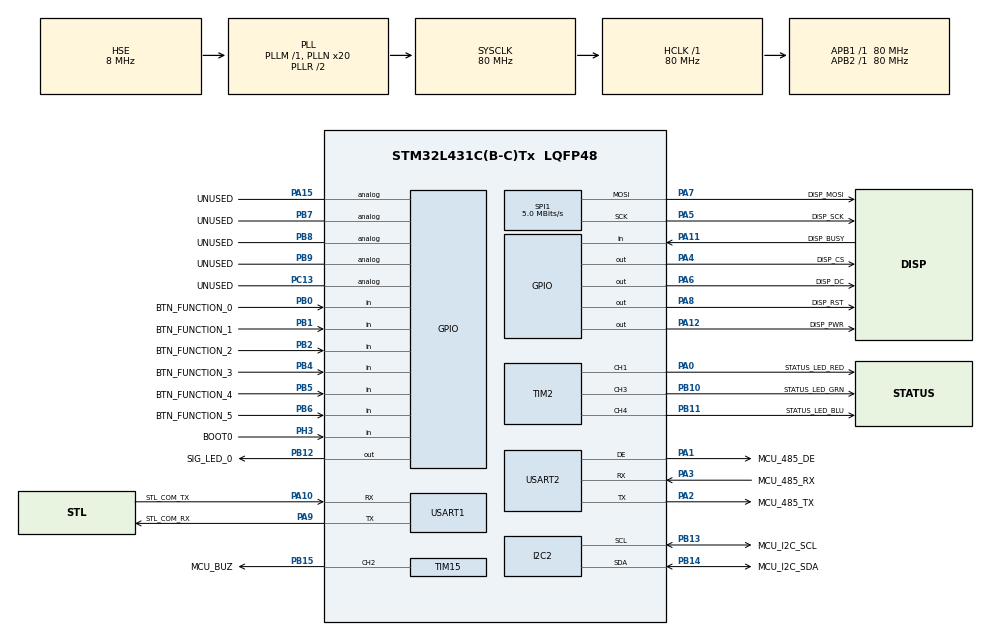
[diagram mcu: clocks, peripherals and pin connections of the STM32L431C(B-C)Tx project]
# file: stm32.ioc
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I2C2.Timing=0x10D19CE4
Mcu.Family=STM32L4
Mcu.Name=STM32L431C(B-C)Tx
Mcu.Package=LQFP48
NVIC.PriorityGroup=NVIC_PRIORITYGROUP_4
PA0.GPIO_Label=STATUS_LED_RED
PA0.Signal=S_TIM2_CH1
PA1.GPIO_Label=MCU_485_DE
PA1.Mode=Hardware Flow Control (RS485)
PA1.Signal=USART2_DE
PA10.GPIO_Label=STL_COM_TX
PA10.Mode=Asynchronous
PA10.Signal=USART1_RX
PA11.GPIO_Label=DISP_BUSY
PA11.Signal=GPIO_Input
PA12.GPIO_Label=DISP_PWR
PA12.Signal=GPIO_Output
PA13\ (JTMS-SWDIO).GPIO_Label=SWDIO
PA13\ (JTMS-SWDIO).Mode=Trace_Asynchronous_SW
PA13\ (JTMS-SWDIO).Signal=SYS_JTMS-SWDIO
PA14\ (JTCK-SWCLK).GPIO_Label=SWCLK
PA14\ (JTCK-SWCLK).Mode=Trace_Asynchronous_SW
PA14\ (JTCK-SWCLK).Signal=SYS_JTCK-SWCLK
PA15\ (JTDI).GPIO_Label=UNUSED
PA15\ (JTDI).Signal=GPIO_Analog
PA2.GPIO_Label=MCU_485_TX
PA2.Mode=Asynchronous
PA2.Signal=USART2_TX
PA3.GPIO_Label=MCU_485_RX
PA3.Mode=Asynchronous
PA3.Signal=USART2_RX
PA4.GPIO_Label=DISP_CS
PA4.Signal=GPIO_Output
PA5.GPIO_Label=DISP_SCK
PA5.Mode=TX_Only_Simplex_Unidirect_Master
PA5.Signal=SPI1_SCK
PA6.GPIO_Label=DISP_DC
PA6.Signal=GPIO_Output
PA7.GPIO_Label=DISP_MOSI
PA7.Mode=TX_Only_Simplex_Unidirect_Master
PA7.Signal=SPI1_MOSI
PA8.GPIO_Label=DISP_RST
PA8.Signal=GPIO_Output
PA9.GPIO_Label=STL_COM_RX
PA9.Mode=Asynchronous
PA9.Signal=USART1_TX
PB0.GPIO_Label=BTN_FUNCTION_0
PB0.Signal=GPIO_Input
PB1.GPIO_Label=BTN_FUNCTION_1
PB1.Signal=GPIO_Input
PB10.GPIO_Label=STATUS_LED_GRN
PB10.Signal=S_TIM2_CH3
PB11.GPIO_Label=STATUS_LED_BLU
PB11.Signal=S_TIM2_CH4
PB12.GPIO_Label=SIG_LED_0
PB12.Signal=GPIO_Output
PB13.GPIO_Label=MCU_I2C_SCL
PB13.Mode=I2C
PB13.Signal=I2C2_SCL
PB14.GPIO_Label=MCU_I2C_SDA
PB14.Mode=I2C
PB14.Signal=I2C2_SDA
PB15.GPIO_Label=MCU_BUZ
PB15.Signal=S_TIM15_CH2
PB2.GPIO_Label=BTN_FUNCTION_2
PB2.Signal=GPIO_Input
PB3\ (JTDO-TRACESWO).GPIO_Label=TRACESWO
PB3\ (JTDO-TRACESWO).Mode=Trace_Asynchronous_SW
PB3\ (JTDO-TRACESWO).Signal=SYS_JTDO-SWO
PB4\ (NJTRST).GPIO_Label=BTN_FUNCTION_3
PB4\ (NJTRST).Signal=GPIO_Input
PB5.GPIO_Label=BTN_FUNCTION_4
PB5.Signal=GPIO_Input
PB6.GPIO_Label=BTN_FUNCTION_5
PB6.Signal=GPIO_Input
PB7.GPIO_Label=UNUSED
PB7.Signal=GPIO_Analog
PB8.GPIO_Label=UNUSED
PB8.Signal=GPIO_Analog
PB9.GPIO_Label=UNUSED
PB9.Signal=GPIO_Analog
PC13.GPIO_Label=UNUSED
PC13.Signal=GPIO_Analog
PC14-OSC32_IN\ (PC14).Mode=LSE-External-Oscillator
PC14-OSC32_IN\ (PC14).Signal=RCC_OSC32_IN
PC15-OSC32_OUT\ (PC15).Mode=LSE-External-Oscillator
PC15-OSC32_OUT\ (PC15).Signal=RCC_OSC32_OUT
PH0-OSC_IN\ (PH0).Mode=HSE-External-Oscillator
PH0-OSC_IN\ (PH0).Signal=RCC_OSC_IN
PH1-OSC_OUT\ (PH1).Mode=HSE-External-Oscillator
PH1-OSC_OUT\ (PH1).Signal=RCC_OSC_OUT
PH3-BOOT0.GPIO_Label=BOOT0
PH3-BOOT0.Signal=GPIO_Input
ProjectManager.HeapSize=0x200
ProjectManager.StackSize=0x400
ProjectManager.TargetToolchain=Makefile
RCC.ADCFreq_Value=32000000
RCC.AHBFreq_Value=80000000
RCC.APB1Freq_Value=80000000
RCC.APB1TimFreq_Value=80000000
RCC.APB2Freq_Value=80000000
RCC.APB2TimFreq_Value=80000000
RCC.CortexFreq_Value=80000000
RCC.HCLKFreq_Value=80000000
RCC.HSI48_VALUE=48000000
RCC.HSI_VALUE=16000000
RCC.MSI_VALUE=4000000
RCC.PLLN=20
RCC.PLLSourceVirtual=RCC_PLLSOURCE_HSE
RCC.RTCClockSelection=RCC_RTCCLKSOURCE_LSE
RCC.SYSCLKFreq_VALUE=80000000
RCC.SYSCLKSource=RCC_SYSCLKSOURCE_PLLCLK
RCC.VCOOutputFreq_Value=160000000
SH.S_TIM15_CH2.0=TIM15_CH2,PWM Generation2 CH2
SH.S_TIM2_CH1.0=TIM2_CH1,PWM Generation1 CH1
SH.S_TIM2_CH3.0=TIM2_CH3,PWM Generation3 CH3
SH.S_TIM2_CH4.0=TIM2_CH4,PWM Generation4 CH4
SPI1.BaudRatePrescaler=SPI_BAUDRATEPRESCALER_16
SPI1.CalculateBaudRate=5.0 MBits/s
SPI1.DataSize=SPI_DATASIZE_8BIT
SPI1.Direction=SPI_DIRECTION_2LINES
SPI1.Mode=SPI_MODE_MASTER
SPI1.VirtualType=VM_MASTER
TIM15.Channel-PWM\ Generation2\ CH2=TIM_CHANNEL_2
TIM2.Channel-PWM\ Generation1\ CH1=TIM_CHANNEL_1
TIM2.Channel-PWM\ Generation3\ CH3=TIM_CHANNEL_3
TIM2.Channel-PWM\ Generation4\ CH4=TIM_CHANNEL_4
USART1.VirtualMode-Asynchronous=VM_ASYNC
USART2.VirtualMode-Asynchronous=VM_ASYNC
USART2.VirtualMode-Hardware\ Flow\ Control\ (RS485)=VM_ASYNC
VP_RTC_VS_RTC_Activate.Mode=RTC_Enabled
board=custom

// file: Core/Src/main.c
/* USER CODE BEGIN Header */
/**
  ******************************************************************************
  * @file           : main.c
  * @brief          : Main program body
  ******************************************************************************
  * @attention
  *
  * Copyright (c) 2026 STMicroelectronics.
  * All rights reserved.
  *
  * This software is licensed under terms that can be found in the LICENSE file
  * in the root directory of this software component.
  * If no LICENSE file comes with this software, it is provided AS-IS.
  *
  ******************************************************************************
  */
/* USER CODE END Header */
#include "main.h"

/* USER CODE BEGIN Includes */

#include <stdio.h>
#include <stdint.h>
#include <string.h>

/* USER CODE END Includes */

I2C_HandleTypeDef hi2c2;

RTC_HandleTypeDef hrtc;

SPI_HandleTypeDef hspi1;

TIM_HandleTypeDef htim2;
TIM_HandleTypeDef htim15;

UART_HandleTypeDef huart1;
UART_HandleTypeDef huart2;

void SystemClock_Config(void);
static void MX_GPIO_Init(void);
static void MX_I2C2_Init(void);
static void MX_TIM2_Init(void);
static void MX_USART1_UART_Init(void);
static void MX_USART2_UART_Init(void);
static void MX_SPI1_Init(void);
static void MX_TIM15_Init(void);
static void MX_RTC_Init(void);

/* USER CODE BEGIN 0 */

// RS485/USART2 settings: 115200 baud, 8 data bits, no parity, 1 stop bit (8N1)
// RX is interrupt-driven (ReceiveToIdle). Incoming bytes are forwarded to USART1 (debug).

#define RS485_RX_TMP_SIZE 64u
#define RS485_RING_SIZE 1024u

static uint8_t rs485_rx_tmp[RS485_RX_TMP_SIZE];
static volatile uint16_t rs485_rb_head = 0u;
static volatile uint16_t rs485_rb_tail = 0u;
static uint8_t rs485_rb[RS485_RING_SIZE];

static volatile uint8_t rs485_rx_activity = 0u;
static uint32_t rs485_led_off_ms = 0u;

static void RS485_RingPush(const uint8_t *data, uint16_t len)
{
  if (data == NULL || len == 0u)
  {
    return;
  }

  for (uint16_t i = 0; i < len; i++)
  {
    uint16_t next = (uint16_t)((rs485_rb_head + 1u) % RS485_RING_SIZE);
    if (next == rs485_rb_tail)
    {
      break;
    }
    rs485_rb[rs485_rb_head] = data[i];
    rs485_rb_head = next;
  }
}

static uint16_t RS485_RingPop(uint8_t *out, uint16_t max_len)
{
  if (out == NULL || max_len == 0u)
  {
    return 0u;
  }

  uint16_t n = 0u;
  while ((rs485_rb_tail != rs485_rb_head) && (n < max_len))
  {
    out[n++] = rs485_rb[rs485_rb_tail];
    rs485_rb_tail = (uint16_t)((rs485_rb_tail + 1u) % RS485_RING_SIZE);
  }
  return n;
}

static void RS485_RxKick(void)
{
  (void)HAL_UARTEx_ReceiveToIdle_IT(&huart2, rs485_rx_tmp, (uint16_t)sizeof(rs485_rx_tmp));
}

int __io_putchar(int ch)
{
  uint8_t byte = (uint8_t)ch;
  (void)HAL_UART_Transmit(&huart1, &byte, 1u, 100u);
  return ch;
}

void HAL_UARTEx_RxEventCallback(UART_HandleTypeDef *huart, uint16_t size)
{
  if (huart == NULL)
  {
    return;
  }

  if (huart->Instance == USART2)
  {
    if (size > 0u)
    {
      RS485_RingPush(rs485_rx_tmp, size);
      rs485_rx_activity = 1u;
    }
    RS485_RxKick();
  }
}

void HAL_UART_ErrorCallback(UART_HandleTypeDef *huart)
{
  if (huart != NULL && huart->Instance == USART2)
  {
    RS485_RxKick();
  }
}

#define BUTTON_EVENT_QUEUE_SIZE (16u)
#define BUTTON_DEBOUNCE_MS (25u)

static volatile uint8_t button_event_queue[BUTTON_EVENT_QUEUE_SIZE];
static volatile uint8_t button_event_head = 0u;
static volatile uint8_t button_event_tail = 0u;
static uint32_t button_last_edge_ms[6];
static uint8_t button_seen_mask = 0u;

void HAL_GPIO_EXTI_Callback(uint16_t gpio_pin)
{
  uint8_t button;
  switch (gpio_pin)
  {
  case BTN_FUNCTION_0_Pin:
    button = 0u;
    break;
  case BTN_FUNCTION_1_Pin:
    button = 1u;
    break;
  case BTN_FUNCTION_2_Pin:
    button = 2u;
    break;
  case BTN_FUNCTION_3_Pin:
    button = 3u;
    break;
  case BTN_FUNCTION_4_Pin:
    button = 4u;
    break;
  case BTN_FUNCTION_5_Pin:
    button = 5u;
    break;
  default:
    return;
  }

  uint32_t now = HAL_GetTick();
  uint8_t button_mask = (uint8_t)(1u << button);
  if (((button_seen_mask & button_mask) != 0u) &&
      ((uint32_t)(now - button_last_edge_ms[button]) < BUTTON_DEBOUNCE_MS))
  {
    return;
  }

  button_seen_mask = (uint8_t)(button_seen_mask | button_mask);
  button_last_edge_ms[button] = now;

  uint8_t next = (uint8_t)((button_event_head + 1u) & (BUTTON_EVENT_QUEUE_SIZE - 1u));
  if (next != button_event_tail)
  {
    button_event_queue[button_event_head] = button;
    button_event_head = next;
  }
}

static uint8_t ButtonEvent_Pop(uint8_t *button)
{
  if (button == NULL || button_event_tail == button_event_head)
  {
    return 0u;
  }

  *button = button_event_queue[button_event_tail];
  button_event_tail = (uint8_t)((button_event_tail + 1u) & (BUTTON_EVENT_QUEUE_SIZE - 1u));
  return 1u;
}

#define EPD_3IN7_WIDTH_PX (280u)
#define EPD_3IN7_HEIGHT_PX (480u)
#define EPD_3IN7_BYTES_PER_ROW (EPD_3IN7_WIDTH_PX / 8u)
#define EPD_3IN7_BUF_SIZE ((EPD_3IN7_WIDTH_PX * EPD_3IN7_HEIGHT_PX) / 8u)
#define EPD_CANVAS_WIDTH_PX (480u)
#define EPD_CANVAS_HEIGHT_PX (280u)

static const uint8_t epd_lut_1gray_du[105] = {
  0x00, 0x00, 0x00, 0x00, 0x00, 0x00, 0x00, 0x00, 0x00, 0x00,
  0x01, 0x2A, 0x00, 0x00, 0x00, 0x00, 0x00, 0x00, 0x00, 0x00,
  0x0A, 0x55, 0x00, 0x00, 0x00, 0x00, 0x00, 0x00, 0x00, 0x00,
  0x00, 0x00, 0x00, 0x00, 0x00, 0x00, 0x00, 0x00, 0x00, 0x00,
  0x00, 0x00, 0x00, 0x00, 0x00, 0x00, 0x00, 0x00, 0x00, 0x00,
  0x00, 0x00, 0x05, 0x05, 0x00, 0x05, 0x03, 0x05, 0x05, 0x00,
  0x00, 0x00, 0x00, 0x00, 0x00, 0x00, 0x00, 0x00, 0x00, 0x00,
  0x00, 0x00, 0x00, 0x00, 0x00, 0x00, 0x00, 0x00, 0x00, 0x00,
  0x00, 0x00, 0x00, 0x00, 0x00, 0x00, 0x00, 0x00, 0x00, 0x00,
  0x00, 0x00, 0x00, 0x00, 0x00, 0x00, 0x00, 0x00, 0x00, 0x00,
  0x22, 0x22, 0x22, 0x22, 0x22
};

static const uint8_t epd_lut_1gray_a2[105] = {
  0x00, 0x00, 0x00, 0x00, 0x00, 0x00, 0x00, 0x00, 0x00, 0x00,
  0x0A, 0x00, 0x00, 0x00, 0x00, 0x00, 0x00, 0x00, 0x00, 0x00,
  0x05, 0x00, 0x00, 0x00, 0x00, 0x00, 0x00, 0x00, 0x00, 0x00,
  0x00, 0x00, 0x00, 0x00, 0x00, 0x00, 0x00, 0x00, 0x00, 0x00,
  0x00, 0x00, 0x00, 0x00, 0x00, 0x00, 0x00, 0x00, 0x00, 0x00,
  0x00, 0x00, 0x03, 0x05, 0x00, 0x00, 0x00, 0x00, 0x00, 0x00,
  0x00, 0x00, 0x00, 0x00, 0x00, 0x00, 0x00, 0x00, 0x00, 0x00,
  0x00, 0x00, 0x00, 0x00, 0x00, 0x00, 0x00, 0x00, 0x00, 0x00,
  0x00, 0x00, 0x00, 0x00, 0x00, 0x00, 0x00, 0x00, 0x00, 0x00,
  0x00, 0x00, 0x00, 0x00, 0x00, 0x00, 0x00, 0x00, 0x00, 0x00,
  0x22, 0x22, 0x22, 0x22, 0x22
};

static const uint8_t epd_lut_1gray_gc[105] = {
  0x2A, 0x05, 0x00, 0x00, 0x00, 0x00, 0x00, 0x00, 0x00, 0x00,
  0x05, 0x2A, 0x00, 0x00, 0x00, 0x00, 0x00, 0x00, 0x00, 0x00,
  0x2A, 0x15, 0x00, 0x00, 0x00, 0x00, 0x00, 0x00, 0x00, 0x00,
  0x05, 0x0A, 0x00, 0x00, 0x00, 0x00, 0x00, 0x00, 0x00, 0x00,
  0x00, 0x00, 0x00, 0x00, 0x00, 0x00, 0x00, 0x00, 0x00, 0x00,
  0x00, 0x02, 0x03, 0x0A, 0x00, 0x02, 0x06, 0x0A, 0x05, 0x00,
  0x00, 0x00, 0x00, 0x00, 0x00, 0x00, 0x00, 0x00, 0x00, 0x00,
  0x00, 0x00, 0x00, 0x00, 0x00, 0x00, 0x00, 0x00, 0x00, 0x00,
  0x00, 0x00, 0x00, 0x00, 0x00, 0x00, 0x00, 0x00, 0x00, 0x00,
  0x00, 0x00, 0x00, 0x00, 0x00, 0x00, 0x00, 0x00, 0x00, 0x00,
  0x22, 0x22, 0x22, 0x22, 0x22
};

static uint8_t epd_framebuffer[EPD_3IN7_BUF_SIZE];

static inline void EPD_DelayMs(uint32_t ms)
{
  HAL_Delay(ms);
}

static inline void EPD_CS_Set(GPIO_PinState state)
{
  HAL_GPIO_WritePin(DISP_CS_GPIO_Port, DISP_CS_Pin, state);
}

static inline void EPD_DC_Set(GPIO_PinState state)
{
  HAL_GPIO_WritePin(DISP_DC_GPIO_Port, DISP_DC_Pin, state);
}

static inline void EPD_RST_Set(GPIO_PinState state)
{
  HAL_GPIO_WritePin(DISP_RST_GPIO_Port, DISP_RST_Pin, state);
}

static inline void EPD_PWR_Set(GPIO_PinState state)
{
  HAL_GPIO_WritePin(DISP_PWR_GPIO_Port, DISP_PWR_Pin, state);
}

static inline GPIO_PinState EPD_BUSY_Read(void)
{
  return HAL_GPIO_ReadPin(DISP_BUSY_GPIO_Port, DISP_BUSY_Pin);
}

static int EPD_WaitBusyHighClears(uint32_t timeout_ms)
{
  uint32_t start = HAL_GetTick();
  while (EPD_BUSY_Read() == GPIO_PIN_SET)
  {
    if ((HAL_GetTick() - start) > timeout_ms)
    {
      return -1;
    }
    EPD_DelayMs(5);
  }

  EPD_DelayMs(200);
  return 0;
}

static void EPD_Reset(void)
{
  EPD_RST_Set(GPIO_PIN_SET);
  EPD_DelayMs(100);
  EPD_RST_Set(GPIO_PIN_RESET);
  EPD_DelayMs(100);
  EPD_RST_Set(GPIO_PIN_SET);
  EPD_DelayMs(100);
}

static void EPD_SendCommand(uint8_t cmd)
{
  EPD_DC_Set(GPIO_PIN_RESET);
  EPD_CS_Set(GPIO_PIN_RESET);
  (void)HAL_SPI_Transmit(&hspi1, &cmd, 1u, 1000u);
  EPD_CS_Set(GPIO_PIN_SET);
}

static void EPD_SendDataByte(uint8_t data)
{
  EPD_DC_Set(GPIO_PIN_SET);
  EPD_CS_Set(GPIO_PIN_RESET);
  (void)HAL_SPI_Transmit(&hspi1, &data, 1u, 1000u);
  EPD_CS_Set(GPIO_PIN_SET);
}

static void EPD_SendDataBuffer(const uint8_t *buf, uint32_t len)
{
  if (buf == NULL || len == 0u)
  {
    return;
  }

  EPD_DC_Set(GPIO_PIN_SET);
  EPD_CS_Set(GPIO_PIN_RESET);
  (void)HAL_SPI_Transmit(&hspi1, (uint8_t *)buf, len, 30000u);
  EPD_CS_Set(GPIO_PIN_SET);
}

typedef enum
{
  EPD_LUT_1GRAY_GC = 1,
  EPD_LUT_1GRAY_DU = 2,
  EPD_LUT_1GRAY_A2 = 3,
} epd_lut_t;

static void EPD_LoadLUT(epd_lut_t lut)
{
  EPD_SendCommand(0x32);
  if (lut == EPD_LUT_1GRAY_A2)
  {
    EPD_SendDataBuffer(epd_lut_1gray_a2, (uint32_t)sizeof(epd_lut_1gray_a2));
  }
  else if (lut == EPD_LUT_1GRAY_DU)
  {
    EPD_SendDataBuffer(epd_lut_1gray_du, (uint32_t)sizeof(epd_lut_1gray_du));
  }
  else
  {
    EPD_SendDataBuffer(epd_lut_1gray_gc, (uint32_t)sizeof(epd_lut_1gray_gc));
  }
}

static int EPD_3IN7_Init_1Gray(void)
{
  EPD_PWR_Set(GPIO_PIN_SET);
  EPD_DelayMs(10);
  EPD_CS_Set(GPIO_PIN_SET);
  EPD_DC_Set(GPIO_PIN_RESET);

  EPD_Reset();

  EPD_SendCommand(0x12);
  EPD_DelayMs(300);

  EPD_SendCommand(0x46);
  EPD_SendDataByte(0xF7);
  if (EPD_WaitBusyHighClears(5000u) != 0)
  {
    return -1;
  }
  EPD_SendCommand(0x47);
  EPD_SendDataByte(0xF7);
  if (EPD_WaitBusyHighClears(5000u) != 0)
  {
    return -1;
  }

  EPD_SendCommand(0x01);
  EPD_SendDataByte(0xDF);
  EPD_SendDataByte(0x01);
  EPD_SendDataByte(0x00);

  EPD_SendCommand(0x03);
  EPD_SendDataByte(0x00);

  EPD_SendCommand(0x04);
  EPD_SendDataByte(0x41);
  EPD_SendDataByte(0xA8);
  EPD_SendDataByte(0x32);

  EPD_SendCommand(0x11);
  EPD_SendDataByte(0x03);

  EPD_SendCommand(0x3C);
  EPD_SendDataByte(0x00);

  EPD_SendCommand(0x0C);
  EPD_SendDataByte(0xAE);
  EPD_SendDataByte(0xC7);
  EPD_SendDataByte(0xC3);
  EPD_SendDataByte(0xC0);
  EPD_SendDataByte(0xC0);

  EPD_SendCommand(0x18);
  EPD_SendDataByte(0x80);

  EPD_SendCommand(0x2C);
  EPD_SendDataByte(0x44);

  EPD_SendCommand(0x37);
  EPD_SendDataByte(0x00);
  EPD_SendDataByte(0xFF);
  EPD_SendDataByte(0xFF);
  EPD_SendDataByte(0xFF);
  EPD_SendDataByte(0xFF);
  EPD_SendDataByte(0x4F);
  EPD_SendDataByte(0xFF);
  EPD_SendDataByte(0xFF);
  EPD_SendDataByte(0xFF);
  EPD_SendDataByte(0xFF);

  EPD_SendCommand(0x44);
  EPD_SendDataByte(0x00);
  EPD_SendDataByte(0x00);
  EPD_SendDataByte(0x17);
  EPD_SendDataByte(0x01);

  EPD_SendCommand(0x45);
  EPD_SendDataByte(0x00);
  EPD_SendDataByte(0x00);
  EPD_SendDataByte(0xDF);
  EPD_SendDataByte(0x01);

  EPD_SendCommand(0x22);
  EPD_SendDataByte(0xCF);

  return 0;
}

static int EPD_3IN7_Display1Gray(const uint8_t *image, uint32_t len, epd_lut_t lut)
{
  if (image == NULL || len != EPD_3IN7_BUF_SIZE)
  {
    return -1;
  }

  EPD_SendCommand(0x44);
  EPD_SendDataByte(0x00);
  EPD_SendDataByte(0x00);
  EPD_SendDataByte(0x17);
  EPD_SendDataByte(0x01);
  EPD_SendCommand(0x45);
  EPD_SendDataByte(0x00);
  EPD_SendDataByte(0x00);
  EPD_SendDataByte(0xDF);
  EPD_SendDataByte(0x01);

  EPD_SendCommand(0x4E);
  EPD_SendDataByte(0x00);
  EPD_SendDataByte(0x00);
  EPD_SendCommand(0x4F);
  EPD_SendDataByte(0x00);
  EPD_SendDataByte(0x00);

  EPD_SendCommand(0x24);
  EPD_SendDataBuffer(image, len);

  EPD_LoadLUT(lut);

  EPD_SendCommand(0x20);
  return EPD_WaitBusyHighClears(15000u);
}

static inline void EPD_3IN7_SetPixel(uint8_t *buf, uint16_t x, uint16_t y, uint8_t black)
{
  if (buf == NULL)
  {
    return;
  }

  if (x >= EPD_3IN7_WIDTH_PX || y >= EPD_3IN7_HEIGHT_PX)
  {
    return;
  }

  uint32_t index = ((uint32_t)y * (uint32_t)EPD_3IN7_BYTES_PER_ROW) + ((uint32_t)x / 8u);
  uint8_t mask = (uint8_t)(0x80u >> (x & 7u));

  if (black)
  {
    buf[index] = (uint8_t)(buf[index] & (uint8_t)(~mask));
  }
  else
  {
    buf[index] = (uint8_t)(buf[index] | mask);
  }
}

static inline void EPD_CanvasSetPixel(uint8_t *buf, uint16_t x, uint16_t y, uint8_t black)
{
  if (x >= EPD_CANVAS_WIDTH_PX || y >= EPD_CANVAS_HEIGHT_PX)
  {
    return;
  }

  EPD_3IN7_SetPixel(buf, y, (uint16_t)(EPD_3IN7_HEIGHT_PX - x - 1u), black);
}

static const uint8_t *EPD_Font5x7_Get(char c)
{
  static const uint8_t space[5] = {0x00, 0x00, 0x00, 0x00, 0x00};
  static const uint8_t digits[10][5] = {
    {0x3E, 0x51, 0x49, 0x45, 0x3E}, {0x00, 0x42, 0x7F, 0x40, 0x00},
    {0x42, 0x61, 0x51, 0x49, 0x46}, {0x21, 0x41, 0x45, 0x4B, 0x31},
    {0x18, 0x14, 0x12, 0x7F, 0x10}, {0x27, 0x45, 0x45, 0x45, 0x39},
    {0x3C, 0x4A, 0x49, 0x49, 0x30}, {0x01, 0x71, 0x09, 0x05, 0x03},
    {0x36, 0x49, 0x49, 0x49, 0x36}, {0x06, 0x49, 0x49, 0x29, 0x1E}
  };
  static const uint8_t uppercase[26][5] = {
    {0x7E, 0x11, 0x11, 0x11, 0x7E}, {0x7F, 0x49, 0x49, 0x49, 0x36},
    {0x3E, 0x41, 0x41, 0x41, 0x22}, {0x7F, 0x41, 0x41, 0x22, 0x1C},
    {0x7F, 0x49, 0x49, 0x49, 0x41}, {0x7F, 0x09, 0x09, 0x09, 0x01},
    {0x3E, 0x41, 0x49, 0x49, 0x7A}, {0x7F, 0x08, 0x08, 0x08, 0x7F},
    {0x00, 0x41, 0x7F, 0x41, 0x00}, {0x20, 0x40, 0x41, 0x3F, 0x01},
    {0x7F, 0x08, 0x14, 0x22, 0x41}, {0x7F, 0x40, 0x40, 0x40, 0x40},
    {0x7F, 0x02, 0x0C, 0x02, 0x7F}, {0x7F, 0x04, 0x08, 0x10, 0x7F},
    {0x3E, 0x41, 0x41, 0x41, 0x3E}, {0x7F, 0x09, 0x09, 0x09, 0x06},
    {0x3E, 0x41, 0x51, 0x21, 0x5E}, {0x7F, 0x09, 0x19, 0x29, 0x46},
    {0x46, 0x49, 0x49, 0x49, 0x31}, {0x01, 0x01, 0x7F, 0x01, 0x01},
    {0x3F, 0x40, 0x40, 0x40, 0x3F}, {0x1F, 0x20, 0x40, 0x20, 0x1F},
    {0x3F, 0x40, 0x38, 0x40, 0x3F}, {0x63, 0x14, 0x08, 0x14, 0x63},
    {0x07, 0x08, 0x70, 0x08, 0x07}, {0x61, 0x51, 0x49, 0x45, 0x43}
  };
  static const uint8_t period[5] = {0x00, 0x60, 0x60, 0x00, 0x00};
  static const uint8_t colon[5] = {0x00, 0x36, 0x36, 0x00, 0x00};
  static const uint8_t dash[5] = {0x08, 0x08, 0x08, 0x08, 0x08};

  if (c >= 'a' && c <= 'z')
  {
    c = (char)(c - 'a' + 'A');
  }
  if (c >= '0' && c <= '9')
  {
    return digits[(uint8_t)(c - '0')];
  }
  if (c >= 'A' && c <= 'Z')
  {
    return uppercase[(uint8_t)(c - 'A')];
  }
  if (c == '.')
  {
    return period;
  }
  if (c == ':')
  {
    return colon;
  }
  if (c == '-')
  {
    return dash;
  }
  return space;
}

static void EPD_DrawChar5x7(uint8_t *buf, uint16_t x, uint16_t y, char c, uint8_t black, uint8_t scale)
{
  const uint8_t *glyph = EPD_Font5x7_Get(c);
  if (glyph == NULL || scale == 0u)
  {
    return;
  }

  for (uint8_t col = 0; col < 5u; col++)
  {
    uint8_t bits = glyph[col];
    for (uint8_t row = 0; row < 7u; row++)
    {
      uint8_t on = (uint8_t)((bits >> row) & 0x01u);
      if (on)
      {
        for (uint8_t dy = 0; dy < scale; dy++)
        {
          for (uint8_t dx = 0; dx < scale; dx++)
          {
            EPD_CanvasSetPixel(buf, (uint16_t)(x + (uint16_t)col * scale + dx),
                               (uint16_t)(y + (uint16_t)row * scale + dy), black);
          }
        }
      }
    }
  }
}

static void EPD_DrawString5x7(uint8_t *buf, uint16_t x, uint16_t y, const char *s, uint8_t black, uint8_t scale)
{
  if (buf == NULL || s == NULL || scale == 0u)
  {
    return;
  }

  const uint16_t adv = (uint16_t)(5u * scale + scale);
  uint16_t cursor_x = x;

  while (*s != '\0')
  {
    EPD_DrawChar5x7(buf, cursor_x, y, *s, black, scale);
    cursor_x = (uint16_t)(cursor_x + adv);
    s++;
  }
}

static uint16_t EPD_TextWidth5x7(const char *s, uint8_t scale)
{
  if (s == NULL || *s == '\0' || scale == 0u)
  {
    return 0u;
  }

  uint16_t length = 0u;
  while (s[length] != '\0')
  {
    length++;
  }
  return (uint16_t)(length * (uint16_t)(6u * scale) - scale);
}

static void EPD_DrawStringCentered5x7(uint8_t *buf, uint16_t y, const char *s, uint8_t black, uint8_t scale)
{
  uint16_t width = EPD_TextWidth5x7(s, scale);
  uint16_t x = (width < EPD_CANVAS_WIDTH_PX) ? (uint16_t)((EPD_CANVAS_WIDTH_PX - width) / 2u) : 0u;
  EPD_DrawString5x7(buf, x, y, s, black, scale);
}

static void EPD_FillRect(uint8_t *buf, uint16_t x, uint16_t y, uint16_t width, uint16_t height, uint8_t black)
{
  uint16_t x_end = (uint16_t)(x + width);
  uint16_t y_end = (uint16_t)(y + height);
  if (x_end > EPD_CANVAS_WIDTH_PX)
  {
    x_end = EPD_CANVAS_WIDTH_PX;
  }
  if (y_end > EPD_CANVAS_HEIGHT_PX)
  {
    y_end = EPD_CANVAS_HEIGHT_PX;
  }

  for (uint16_t py = y; py < y_end; py++)
  {
    for (uint16_t px = x; px < x_end; px++)
    {
      EPD_CanvasSetPixel(buf, px, py, black);
    }
  }
}

static void EPD_DrawRect(uint8_t *buf, uint16_t x, uint16_t y, uint16_t width, uint16_t height, uint8_t black)
{
  if (width < 2u || height < 2u)
  {
    return;
  }
  EPD_FillRect(buf, x, y, width, 2u, black);
  EPD_FillRect(buf, x, (uint16_t)(y + height - 2u), width, 2u, black);
  EPD_FillRect(buf, x, y, 2u, height, black);
  EPD_FillRect(buf, (uint16_t)(x + width - 2u), y, 2u, height, black);
}

typedef struct
{
  uint16_t heading_deg;
  uint16_t course_deg;
  uint16_t speed_tenths;
  uint16_t distance_tenths;
  uint16_t trip_tenths;
} nav_demo_data_t;

typedef enum
{
  NAV_FIELD_HEADING = 0,
  NAV_FIELD_SPEED = 1,
  NAV_FIELD_COURSE = 2,
  NAV_FIELD_DISTANCE = 3
} nav_field_t;

#define NAV_VALUE_REGION_X (24u)
#define NAV_VALUE_REGION_Y (92u)
#define NAV_VALUE_REGION_WIDTH (270u)
#define NAV_VALUE_REGION_HEIGHT (80u)

static const char *Nav_FieldLabel(nav_field_t field)
{
  switch (field)
  {
  case NAV_FIELD_SPEED:
    return "SPEED";
  case NAV_FIELD_COURSE:
    return "COURSE";
  case NAV_FIELD_DISTANCE:
    return "DISTANCE";
  case NAV_FIELD_HEADING:
  default:
    return "HEADING";
  }
}

static const char *Nav_FieldUnit(nav_field_t field)
{
  switch (field)
  {
  case NAV_FIELD_SPEED:
    return "KT";
  case NAV_FIELD_COURSE:
    return "DEG";
  case NAV_FIELD_DISTANCE:
    return "NM";
  case NAV_FIELD_HEADING:
  default:
    return "DEG TRUE";
  }
}

static void Nav_FormatFieldValue(const nav_demo_data_t *nav, nav_field_t field, char *text, uint16_t text_size)
{
  if (nav == NULL || text == NULL || text_size == 0u)
  {
    return;
  }

  switch (field)
  {
  case NAV_FIELD_SPEED:
    (void)snprintf(text, text_size, "%u.%u", (unsigned int)(nav->speed_tenths / 10u),
                   (unsigned int)(nav->speed_tenths % 10u));
    break;
  case NAV_FIELD_COURSE:
    (void)snprintf(text, text_size, "%03u", (unsigned int)nav->course_deg);
    break;
  case NAV_FIELD_DISTANCE:
    (void)snprintf(text, text_size, "%u.%u", (unsigned int)(nav->distance_tenths / 10u),
                   (unsigned int)(nav->distance_tenths % 10u));
    break;
  case NAV_FIELD_HEADING:
  default:
    (void)snprintf(text, text_size, "%03u", (unsigned int)nav->heading_deg);
    break;
  }
}

static void Nav_AdjustField(nav_demo_data_t *nav, nav_field_t field, int8_t direction)
{
  if (nav == NULL || direction == 0)
  {
    return;
  }

  if (field == NAV_FIELD_HEADING)
  {
    nav->heading_deg = (direction > 0) ? (uint16_t)((nav->heading_deg + 1u) % 360u)
                                       : (uint16_t)((nav->heading_deg + 359u) % 360u);
  }
  else if (field == NAV_FIELD_COURSE)
  {
    nav->course_deg = (direction > 0) ? (uint16_t)((nav->course_deg + 1u) % 360u)
                                      : (uint16_t)((nav->course_deg + 359u) % 360u);
  }
  else if (field == NAV_FIELD_SPEED)
  {
    if (direction > 0)
    {
      nav->speed_tenths = (nav->speed_tenths < 999u) ? (uint16_t)(nav->speed_tenths + 1u) : 0u;
    }
    else
    {
      nav->speed_tenths = (nav->speed_tenths > 0u) ? (uint16_t)(nav->speed_tenths - 1u) : 999u;
    }
  }
  else
  {
    if (direction > 0)
    {
      nav->distance_tenths = (nav->distance_tenths < 999u) ? (uint16_t)(nav->distance_tenths + 1u) : 0u;
    }
    else
    {
      nav->distance_tenths = (nav->distance_tenths > 0u) ? (uint16_t)(nav->distance_tenths - 1u) : 999u;
    }
  }
}

static void EPD_DrawStringCenteredInBox(uint16_t x, uint16_t width, uint16_t y, const char *text,
                                        uint8_t black, uint8_t scale)
{
  uint16_t text_width = EPD_TextWidth5x7(text, scale);
  uint16_t text_x = (text_width < width) ? (uint16_t)(x + (width - text_width) / 2u) : x;
  EPD_DrawString5x7(epd_framebuffer, text_x, y, text, black, scale);
}

static void EPD_DrawSelectedNavValue(const nav_demo_data_t *nav, nav_field_t selected)
{
  char value[8];
  Nav_FormatFieldValue(nav, selected, value, (uint16_t)sizeof(value));

  EPD_FillRect(epd_framebuffer, NAV_VALUE_REGION_X, NAV_VALUE_REGION_Y,
               NAV_VALUE_REGION_WIDTH, NAV_VALUE_REGION_HEIGHT, 0u);
  EPD_DrawStringCenteredInBox(10u, 290u, 101u, value, 1u, 9u);
}

static void EPD_DrawNavSummaryCard(uint16_t y, const nav_demo_data_t *nav, nav_field_t field,
                                   nav_field_t selected)
{
  char value[8];
  const uint8_t is_selected = (field == selected) ? 1u : 0u;
  const uint8_t ink = is_selected ? 0u : 1u;
  if (is_selected)
  {
    (void)snprintf(value, sizeof(value), "ACTIVE");
  }
  else
  {
    Nav_FormatFieldValue(nav, field, value, (uint16_t)sizeof(value));
  }

  if (is_selected)
  {
    EPD_FillRect(epd_framebuffer, 312u, y, 158u, 40u, 1u);
  }
  else
  {
    EPD_DrawRect(epd_framebuffer, 312u, y, 158u, 40u, 1u);
  }

  EPD_DrawString5x7(epd_framebuffer, 320u, (uint16_t)(y + 6u), Nav_FieldLabel(field), ink, 1u);
  EPD_DrawStringCenteredInBox(312u, 158u, (uint16_t)(y + 20u), value, ink, 2u);
}

static void EPD_3IN7_MakeNavigationDisplay(const nav_demo_data_t *nav, nav_field_t selected)
{
  char trip[8];
  char title[24];

  if (nav == NULL)
  {
    return;
  }

  (void)snprintf(trip, sizeof(trip), "%u.%u", (unsigned int)(nav->trip_tenths / 10u),
                 (unsigned int)(nav->trip_tenths % 10u));
  (void)snprintf(title, sizeof(title), "NAV - %s", Nav_FieldLabel(selected));

  memset(epd_framebuffer, 0xFF, sizeof(epd_framebuffer));

  EPD_FillRect(epd_framebuffer, 0u, 0u, EPD_CANVAS_WIDTH_PX, 42u, 1u);
  EPD_DrawStringCentered5x7(epd_framebuffer, 10u, title, 0u, 3u);

  EPD_DrawRect(epd_framebuffer, 10u, 52u, 290u, 178u, 1u);
  EPD_DrawStringCenteredInBox(10u, 290u, 65u, Nav_FieldLabel(selected), 1u, 3u);
  EPD_DrawSelectedNavValue(nav, selected);
  EPD_DrawStringCenteredInBox(10u, 290u, 184u, Nav_FieldUnit(selected), 1u, 3u);

  EPD_DrawNavSummaryCard(52u, nav, NAV_FIELD_HEADING, selected);
  EPD_DrawNavSummaryCard(97u, nav, NAV_FIELD_SPEED, selected);
  EPD_DrawNavSummaryCard(142u, nav, NAV_FIELD_COURSE, selected);
  EPD_DrawNavSummaryCard(187u, nav, NAV_FIELD_DISTANCE, selected);

  EPD_FillRect(epd_framebuffer, 0u, 240u, EPD_CANVAS_WIDTH_PX, 40u, 1u);
  EPD_DrawString5x7(epd_framebuffer, 10u, 247u, "B0 UP  B1 DOWN", 0u, 1u);
  EPD_DrawString5x7(epd_framebuffer, 10u, 264u, "B2 HDG  B3 SPD  B4 CRS  B5 DST", 0u, 1u);
  EPD_DrawString5x7(epd_framebuffer, 374u, 247u, "TRIP", 0u, 1u);
  EPD_DrawString5x7(epd_framebuffer, 410u, 247u, trip, 0u, 1u);
}

static void Buzzer_Beep(uint32_t freq_hz, uint32_t duration_ms)
{
  if (freq_hz == 0u || duration_ms == 0u)
  {
    return;
  }

  uint32_t timer_clk_hz = HAL_RCC_GetPCLK2Freq();

  if ((RCC->CFGR & RCC_CFGR_PPRE2) != RCC_CFGR_PPRE2_DIV1)
  {
    timer_clk_hz *= 2u;
  }

  const uint32_t target_timer_hz = 1000000u;
  uint32_t prescaler = (timer_clk_hz / target_timer_hz);
  if (prescaler == 0u)
  {
    prescaler = 1u;
  }

  prescaler -= 1u;
  if (prescaler > 0xFFFFu)
  {
    prescaler = 0xFFFFu;
  }

  uint32_t pwm_hz = timer_clk_hz / (prescaler + 1u);
  uint32_t period = (pwm_hz / freq_hz);
  if (period < 2u)
  {
    period = 2u;
  }
  if (period > 0xFFFFu)
  {
    period = 0xFFFFu;
  }
  period -= 1u;

  __HAL_TIM_DISABLE(&htim15);
  __HAL_TIM_SET_PRESCALER(&htim15, prescaler);
  __HAL_TIM_SET_AUTORELOAD(&htim15, period);
  __HAL_TIM_SET_COMPARE(&htim15, TIM_CHANNEL_2, (period + 1u) / 2u);
  __HAL_TIM_SET_COUNTER(&htim15, 0u);
  HAL_TIM_GenerateEvent(&htim15, TIM_EVENTSOURCE_UPDATE);

  (void)HAL_TIM_PWM_Start(&htim15, TIM_CHANNEL_2);
  HAL_Delay(duration_ms);
  (void)HAL_TIM_PWM_Stop(&htim15, TIM_CHANNEL_2);
  __HAL_TIM_SET_COMPARE(&htim15, TIM_CHANNEL_2, 0u);
}

static void RgbLed_Init(void)
{
  uint32_t timer_clk_hz = HAL_RCC_GetPCLK1Freq();

  if ((RCC->CFGR & RCC_CFGR_PPRE1) != RCC_CFGR_PPRE1_DIV1)
  {
    timer_clk_hz *= 2u;
  }

  const uint32_t target_timer_hz = 1000000u;
  uint32_t prescaler = (timer_clk_hz / target_timer_hz);
  if (prescaler == 0u)
  {
    prescaler = 1u;
  }
  prescaler -= 1u;
  if (prescaler > 0xFFFFu)
  {
    prescaler = 0xFFFFu;
  }

  const uint32_t pwm_freq_hz = 1000u;
  uint32_t pwm_hz = timer_clk_hz / (prescaler + 1u);
  uint32_t period = (pwm_hz / pwm_freq_hz);
  if (period < 2u)
  {
    period = 2u;
  }
  if (period > 0xFFFFFFFFu)
  {
    period = 0xFFFFFFFFu;
  }
  period -= 1u;

  __HAL_TIM_DISABLE(&htim2);
  __HAL_TIM_SET_PRESCALER(&htim2, prescaler);
  __HAL_TIM_SET_AUTORELOAD(&htim2, period);
  __HAL_TIM_SET_COUNTER(&htim2, 0u);
  HAL_TIM_GenerateEvent(&htim2, TIM_EVENTSOURCE_UPDATE);

  (void)HAL_TIM_PWM_Start(&htim2, TIM_CHANNEL_1);
  (void)HAL_TIM_PWM_Start(&htim2, TIM_CHANNEL_3);
  (void)HAL_TIM_PWM_Start(&htim2, TIM_CHANNEL_4);

  __HAL_TIM_SET_COMPARE(&htim2, TIM_CHANNEL_1, 0u);
  __HAL_TIM_SET_COMPARE(&htim2, TIM_CHANNEL_3, 0u);
  __HAL_TIM_SET_COMPARE(&htim2, TIM_CHANNEL_4, 0u);
}

static void RgbLed_SetDuty5Pct(uint8_t r_on, uint8_t g_on, uint8_t b_on)
{
  uint32_t arr = __HAL_TIM_GET_AUTORELOAD(&htim2);
  uint32_t on = (arr + 1u) / 20u;
  if (on == 0u)
  {
    on = 1u;
  }

  __HAL_TIM_SET_COMPARE(&htim2, TIM_CHANNEL_1, r_on ? on : 0u);
  __HAL_TIM_SET_COMPARE(&htim2, TIM_CHANNEL_3, g_on ? on : 0u);
  __HAL_TIM_SET_COMPARE(&htim2, TIM_CHANNEL_4, b_on ? on : 0u);
}

static void RgbLed_StartupSequence(void)
{
  for (uint8_t flash = 0u; flash < 3u; flash++)
  {
    RgbLed_SetDuty5Pct(0u, 1u, 0u);
    HAL_Delay(75u);
    RgbLed_SetDuty5Pct(0u, 0u, 0u);
    HAL_Delay(75u);
  }

  RgbLed_SetDuty5Pct(0u, 1u, 0u);
}

static void Button_ClickFeedback(void)
{
  HAL_GPIO_WritePin(SIG_LED_0_GPIO_Port, SIG_LED_0_Pin, GPIO_PIN_SET);
  Buzzer_Beep(2500u, 40u);
  HAL_GPIO_WritePin(SIG_LED_0_GPIO_Port, SIG_LED_0_Pin, GPIO_PIN_RESET);
}

/* USER CODE END 0 */

int main(void)
{

  /* MCU Configuration--------------------------------------------------------*/

  /* Reset of all peripherals, Initializes the Flash interface and the Systick. */
  HAL_Init();

  /* Configure the system clock */
  SystemClock_Config();

  /* Initialize all configured peripherals */
  MX_GPIO_Init();
  MX_I2C2_Init();
  MX_TIM2_Init();
  MX_USART1_UART_Init();
  MX_USART2_UART_Init();
  MX_SPI1_Init();
  MX_TIM15_Init();
  MX_RTC_Init();
  /* USER CODE BEGIN 2 */

  (void)HAL_TIM_PWM_Stop(&htim15, TIM_CHANNEL_2);
  __HAL_TIM_SET_COMPARE(&htim15, TIM_CHANNEL_2, 0u);

  nav_demo_data_t nav_data = {
    .heading_deg = 123u,
    .course_deg = 128u,
    .speed_tenths = 64u,
    .distance_tenths = 32u,
    .trip_tenths = 187u
  };
  nav_field_t selected_field = NAV_FIELD_HEADING;
  uint8_t epd_inited = 0u;

  RS485_RxKick();

  RgbLed_Init();
  RgbLed_StartupSequence();

  uint32_t alive_next_ms = HAL_GetTick();
  uint32_t alive_count = 0u;

  epd_inited = (EPD_3IN7_Init_1Gray() == 0) ? 1u : 0u;
  if (epd_inited)
  {
    EPD_3IN7_MakeNavigationDisplay(&nav_data, selected_field);
    if (EPD_3IN7_Display1Gray(epd_framebuffer, (uint32_t)sizeof(epd_framebuffer), EPD_LUT_1GRAY_GC) != 0)
    {
      epd_inited = 0u;
    }
  }

  /* USER CODE END 2 */

  /* Infinite loop */
  while (1)
  {

    /* USER CODE BEGIN 3 */
    if ((int32_t)(HAL_GetTick() - alive_next_ms) >= 0)
    {
      alive_next_ms += 1000u;
      printf("Alive %lu\r\n", (unsigned long)alive_count++);
    }

    if (rs485_rx_activity)
    {
      rs485_rx_activity = 0u;
      rs485_led_off_ms = HAL_GetTick() + 50u;
      HAL_GPIO_WritePin(SIG_LED_0_GPIO_Port, SIG_LED_0_Pin, GPIO_PIN_SET);
    }

    if (rs485_led_off_ms != 0u)
    {
      if ((int32_t)(HAL_GetTick() - rs485_led_off_ms) >= 0)
      {
        rs485_led_off_ms = 0u;
        HAL_GPIO_WritePin(SIG_LED_0_GPIO_Port, SIG_LED_0_Pin, GPIO_PIN_RESET);
      }
    }

    {
      uint8_t chunk[64];
      uint16_t n = RS485_RingPop(chunk, (uint16_t)sizeof(chunk));
      if (n > 0u)
      {
        (void)HAL_UART_Transmit(&huart1, chunk, n, 100u);
      }
    }

    uint8_t button;
    if (ButtonEvent_Pop(&button))
    {
      uint8_t needs_full_refresh = 0u;
      do
      {
        Button_ClickFeedback();

        if (button == 0u)
        {
          Nav_AdjustField(&nav_data, selected_field, 1);
        }
        else if (button == 1u)
        {
          Nav_AdjustField(&nav_data, selected_field, -1);
        }
        else
        {
          selected_field = (nav_field_t)(button - 2u);
          needs_full_refresh = 1u;
        }
      } while (ButtonEvent_Pop(&button));

      uint8_t display_was_ready = epd_inited;
      if (!epd_inited)
      {
        epd_inited = (EPD_3IN7_Init_1Gray() == 0) ? 1u : 0u;
      }
      else if (needs_full_refresh)
      {
        /* Return to the panel's full-refresh setup after using the A2 waveform. */
        epd_inited = (EPD_3IN7_Init_1Gray() == 0) ? 1u : 0u;
      }

      if (epd_inited)
      {
        int display_result;
        if (!needs_full_refresh && display_was_ready)
        {
          EPD_DrawSelectedNavValue(&nav_data, selected_field);
          /* The 3.7-inch controller needs a complete RAM image even for A2.
           * The A2 waveform changes only pixels that differ on the panel. */
          display_result = EPD_3IN7_Display1Gray(
            epd_framebuffer, (uint32_t)sizeof(epd_framebuffer), EPD_LUT_1GRAY_A2);
        }
        else
        {
          EPD_3IN7_MakeNavigationDisplay(&nav_data, selected_field);
          display_result = EPD_3IN7_Display1Gray(
            epd_framebuffer, (uint32_t)sizeof(epd_framebuffer), EPD_LUT_1GRAY_GC);
        }

        if (display_result != 0)
        {
          epd_inited = 0u;
        }
      }
    }

  }
  /* USER CODE END 3 */
}

void SystemClock_Config(void)
{
  RCC_OscInitTypeDef RCC_OscInitStruct = {0};
  RCC_ClkInitTypeDef RCC_ClkInitStruct = {0};

  /** Configure the main internal regulator output voltage
  */
  if (HAL_PWREx_ControlVoltageScaling(PWR_REGULATOR_VOLTAGE_SCALE1) != HAL_OK)
  {
    Error_Handler();
  }

  /** Configure LSE Drive Capability
  */
  HAL_PWR_EnableBkUpAccess();
  __HAL_RCC_LSEDRIVE_CONFIG(RCC_LSEDRIVE_LOW);

  /** Initializes the RCC Oscillators according to the specified parameters
  * in the RCC_OscInitTypeDef structure.
  */
  RCC_OscInitStruct.OscillatorType = RCC_OSCILLATORTYPE_HSE|RCC_OSCILLATORTYPE_LSE;
  RCC_OscInitStruct.HSEState = RCC_HSE_ON;
  RCC_OscInitStruct.LSEState = RCC_LSE_ON;
  RCC_OscInitStruct.PLL.PLLState = RCC_PLL_ON;
  RCC_OscInitStruct.PLL.PLLSource = RCC_PLLSOURCE_HSE;
  RCC_OscInitStruct.PLL.PLLM = 1;
  RCC_OscInitStruct.PLL.PLLN = 20;
  RCC_OscInitStruct.PLL.PLLP = RCC_PLLP_DIV7;
  RCC_OscInitStruct.PLL.PLLQ = RCC_PLLQ_DIV2;
  RCC_OscInitStruct.PLL.PLLR = RCC_PLLR_DIV2;
  if (HAL_RCC_OscConfig(&RCC_OscInitStruct) != HAL_OK)
  {
    Error_Handler();
  }

  /** Initializes the CPU, AHB and APB buses clocks
  */
  RCC_ClkInitStruct.ClockType = RCC_CLOCKTYPE_HCLK|RCC_CLOCKTYPE_SYSCLK
                              |RCC_CLOCKTYPE_PCLK1|RCC_CLOCKTYPE_PCLK2;
  RCC_ClkInitStruct.SYSCLKSource = RCC_SYSCLKSOURCE_PLLCLK;
  RCC_ClkInitStruct.AHBCLKDivider = RCC_SYSCLK_DIV1;
  RCC_ClkInitStruct.APB1CLKDivider = RCC_HCLK_DIV1;
  RCC_ClkInitStruct.APB2CLKDivider = RCC_HCLK_DIV1;

  if (HAL_RCC_ClockConfig(&RCC_ClkInitStruct, FLASH_LATENCY_4) != HAL_OK)
  {
    Error_Handler();
  }
}

static void MX_I2C2_Init(void)
{

  hi2c2.Instance = I2C2;
  hi2c2.Init.Timing = 0x10D19CE4;
  hi2c2.Init.OwnAddress1 = 0;
  hi2c2.Init.AddressingMode = I2C_ADDRESSINGMODE_7BIT;
  hi2c2.Init.DualAddressMode = I2C_DUALADDRESS_DISABLE;
  hi2c2.Init.OwnAddress2 = 0;
  hi2c2.Init.OwnAddress2Masks = I2C_OA2_NOMASK;
  hi2c2.Init.GeneralCallMode = I2C_GENERALCALL_DISABLE;
  hi2c2.Init.NoStretchMode = I2C_NOSTRETCH_DISABLE;
  if (HAL_I2C_Init(&hi2c2) != HAL_OK)
  {
    Error_Handler();
  }

  /** Configure Analogue filter
  */
  if (HAL_I2CEx_ConfigAnalogFilter(&hi2c2, I2C_ANALOGFILTER_ENABLE) != HAL_OK)
  {
    Error_Handler();
  }

  /** Configure Digital filter
  */
  if (HAL_I2CEx_ConfigDigitalFilter(&hi2c2, 0) != HAL_OK)
  {
    Error_Handler();
  }

}

static void MX_RTC_Init(void)
{

  /** Initialize RTC Only
  */
  hrtc.Instance = RTC;
  hrtc.Init.HourFormat = RTC_HOURFORMAT_24;
  hrtc.Init.AsynchPrediv = 127;
  hrtc.Init.SynchPrediv = 255;
  hrtc.Init.OutPut = RTC_OUTPUT_DISABLE;
  hrtc.Init.OutPutRemap = RTC_OUTPUT_REMAP_NONE;
  hrtc.Init.OutPutPolarity = RTC_OUTPUT_POLARITY_HIGH;
  hrtc.Init.OutPutType = RTC_OUTPUT_TYPE_OPENDRAIN;
  if (HAL_RTC_Init(&hrtc) != HAL_OK)
  {
    Error_Handler();
  }

}

static void MX_SPI1_Init(void)
{

  /* SPI1 parameter configuration*/
  hspi1.Instance = SPI1;
  hspi1.Init.Mode = SPI_MODE_MASTER;
  hspi1.Init.Direction = SPI_DIRECTION_2LINES;
  hspi1.Init.DataSize = SPI_DATASIZE_8BIT;
  hspi1.Init.CLKPolarity = SPI_POLARITY_LOW;
  hspi1.Init.CLKPhase = SPI_PHASE_1EDGE;
  hspi1.Init.NSS = SPI_NSS_SOFT;
  hspi1.Init.BaudRatePrescaler = SPI_BAUDRATEPRESCALER_16;
  hspi1.Init.FirstBit = SPI_FIRSTBIT_MSB;
  hspi1.Init.TIMode = SPI_TIMODE_DISABLE;
  hspi1.Init.CRCCalculation = SPI_CRCCALCULATION_DISABLE;
  hspi1.Init.CRCPolynomial = 7;
  hspi1.Init.CRCLength = SPI_CRC_LENGTH_DATASIZE;
  hspi1.Init.NSSPMode = SPI_NSS_PULSE_ENABLE;
  if (HAL_SPI_Init(&hspi1) != HAL_OK)
  {
    Error_Handler();
  }

}

static void MX_TIM2_Init(void)
{

  TIM_MasterConfigTypeDef sMasterConfig = {0};
  TIM_OC_InitTypeDef sConfigOC = {0};

  htim2.Instance = TIM2;
  htim2.Init.Prescaler = 0;
  htim2.Init.CounterMode = TIM_COUNTERMODE_UP;
  htim2.Init.Period = 4294967295;
  htim2.Init.ClockDivision = TIM_CLOCKDIVISION_DIV1;
  htim2.Init.AutoReloadPreload = TIM_AUTORELOAD_PRELOAD_DISABLE;
  if (HAL_TIM_PWM_Init(&htim2) != HAL_OK)
  {
    Error_Handler();
  }
  sMasterConfig.MasterOutputTrigger = TIM_TRGO_RESET;
  sMasterConfig.MasterSlaveMode = TIM_MASTERSLAVEMODE_DISABLE;
  if (HAL_TIMEx_MasterConfigSynchronization(&htim2, &sMasterConfig) != HAL_OK)
  {
    Error_Handler();
  }
  sConfigOC.OCMode = TIM_OCMODE_PWM1;
  sConfigOC.Pulse = 0;
  sConfigOC.OCPolarity = TIM_OCPOLARITY_HIGH;
  sConfigOC.OCFastMode = TIM_OCFAST_DISABLE;
  if (HAL_TIM_PWM_ConfigChannel(&htim2, &sConfigOC, TIM_CHANNEL_1) != HAL_OK)
  {
    Error_Handler();
  }
  if (HAL_TIM_PWM_ConfigChannel(&htim2, &sConfigOC, TIM_CHANNEL_3) != HAL_OK)
  {
    Error_Handler();
  }
  if (HAL_TIM_PWM_ConfigChannel(&htim2, &sConfigOC, TIM_CHANNEL_4) != HAL_OK)
  {
    Error_Handler();
  }
  HAL_TIM_MspPostInit(&htim2);

}

static void MX_TIM15_Init(void)
{

  TIM_MasterConfigTypeDef sMasterConfig = {0};
  TIM_OC_InitTypeDef sConfigOC = {0};
  TIM_BreakDeadTimeConfigTypeDef sBreakDeadTimeConfig = {0};

  htim15.Instance = TIM15;
  htim15.Init.Prescaler = 0;
  htim15.Init.CounterMode = TIM_COUNTERMODE_UP;
  htim15.Init.Period = 65535;
  htim15.Init.ClockDivision = TIM_CLOCKDIVISION_DIV1;
  htim15.Init.RepetitionCounter = 0;
  htim15.Init.AutoReloadPreload = TIM_AUTORELOAD_PRELOAD_DISABLE;
  if (HAL_TIM_PWM_Init(&htim15) != HAL_OK)
  {
    Error_Handler();
  }
  sMasterConfig.MasterOutputTrigger = TIM_TRGO_RESET;
  sMasterConfig.MasterSlaveMode = TIM_MASTERSLAVEMODE_DISABLE;
  if (HAL_TIMEx_MasterConfigSynchronization(&htim15, &sMasterConfig) != HAL_OK)
  {
    Error_Handler();
  }
  sConfigOC.OCMode = TIM_OCMODE_PWM1;
  sConfigOC.Pulse = 0;
  sConfigOC.OCPolarity = TIM_OCPOLARITY_HIGH;
  sConfigOC.OCNPolarity = TIM_OCNPOLARITY_HIGH;
  sConfigOC.OCFastMode = TIM_OCFAST_DISABLE;
  sConfigOC.OCIdleState = TIM_OCIDLESTATE_RESET;
  sConfigOC.OCNIdleState = TIM_OCNIDLESTATE_RESET;
  if (HAL_TIM_PWM_ConfigChannel(&htim15, &sConfigOC, TIM_CHANNEL_2) != HAL_OK)
  {
    Error_Handler();
  }
  sBreakDeadTimeConfig.OffStateRunMode = TIM_OSSR_DISABLE;
  sBreakDeadTimeConfig.OffStateIDLEMode = TIM_OSSI_DISABLE;
  sBreakDeadTimeConfig.LockLevel = TIM_LOCKLEVEL_OFF;
  sBreakDeadTimeConfig.DeadTime = 0;
  sBreakDeadTimeConfig.BreakState = TIM_BREAK_DISABLE;
  sBreakDeadTimeConfig.BreakPolarity = TIM_BREAKPOLARITY_HIGH;
  sBreakDeadTimeConfig.AutomaticOutput = TIM_AUTOMATICOUTPUT_DISABLE;
  if (HAL_TIMEx_ConfigBreakDeadTime(&htim15, &sBreakDeadTimeConfig) != HAL_OK)
  {
    Error_Handler();
  }
  HAL_TIM_MspPostInit(&htim15);

}

static void MX_USART1_UART_Init(void)
{

  huart1.Instance = USART1;
  huart1.Init.BaudRate = 115200;
  huart1.Init.WordLength = UART_WORDLENGTH_8B;
  huart1.Init.StopBits = UART_STOPBITS_1;
  huart1.Init.Parity = UART_PARITY_NONE;
  huart1.Init.Mode = UART_MODE_TX_RX;
  huart1.Init.HwFlowCtl = UART_HWCONTROL_NONE;
  huart1.Init.OverSampling = UART_OVERSAMPLING_16;
  huart1.Init.OneBitSampling = UART_ONE_BIT_SAMPLE_DISABLE;
  huart1.AdvancedInit.AdvFeatureInit = UART_ADVFEATURE_NO_INIT;
  if (HAL_UART_Init(&huart1) != HAL_OK)
  {
    Error_Handler();
  }

}

static void MX_USART2_UART_Init(void)
{

  huart2.Instance = USART2;
  huart2.Init.BaudRate = 115200;
  huart2.Init.WordLength = UART_WORDLENGTH_8B;
  huart2.Init.StopBits = UART_STOPBITS_1;
  huart2.Init.Parity = UART_PARITY_NONE;
  huart2.Init.Mode = UART_MODE_TX_RX;
  huart2.Init.HwFlowCtl = UART_HWCONTROL_NONE;
  huart2.Init.OverSampling = UART_OVERSAMPLING_16;
  huart2.Init.OneBitSampling = UART_ONE_BIT_SAMPLE_DISABLE;
  huart2.AdvancedInit.AdvFeatureInit = UART_ADVFEATURE_NO_INIT;
  if (HAL_RS485Ex_Init(&huart2, UART_DE_POLARITY_HIGH, 0, 0) != HAL_OK)
  {
    Error_Handler();
  }

}

static void MX_GPIO_Init(void)
{
  GPIO_InitTypeDef GPIO_InitStruct = {0};

  /* GPIO Ports Clock Enable */
  __HAL_RCC_GPIOC_CLK_ENABLE();
  __HAL_RCC_GPIOH_CLK_ENABLE();
  __HAL_RCC_GPIOA_CLK_ENABLE();
  __HAL_RCC_GPIOB_CLK_ENABLE();

  /*Configure GPIO pin Output Level */
  HAL_GPIO_WritePin(GPIOA, DISP_CS_Pin|DISP_DC_Pin|DISP_RST_Pin|DISP_PWR_Pin, GPIO_PIN_RESET);

  /*Configure GPIO pin Output Level */
  HAL_GPIO_WritePin(SIG_LED_0_GPIO_Port, SIG_LED_0_Pin, GPIO_PIN_RESET);

  /*Configure GPIO pin : UNUSED_Pin */
  GPIO_InitStruct.Pin = UNUSED_Pin;
  GPIO_InitStruct.Mode = GPIO_MODE_ANALOG;
  GPIO_InitStruct.Pull = GPIO_NOPULL;
  HAL_GPIO_Init(UNUSED_GPIO_Port, &GPIO_InitStruct);

  /*Configure GPIO pins : DISP_CS_Pin DISP_DC_Pin DISP_RST_Pin DISP_PWR_Pin */
  GPIO_InitStruct.Pin = DISP_CS_Pin|DISP_DC_Pin|DISP_RST_Pin|DISP_PWR_Pin;
  GPIO_InitStruct.Mode = GPIO_MODE_OUTPUT_PP;
  GPIO_InitStruct.Pull = GPIO_NOPULL;
  GPIO_InitStruct.Speed = GPIO_SPEED_FREQ_LOW;
  HAL_GPIO_Init(GPIOA, &GPIO_InitStruct);

  /*Configure GPIO pins : BTN_FUNCTION_0_Pin BTN_FUNCTION_1_Pin BTN_FUNCTION_2_Pin BTN_FUNCTION_3_Pin
                           BTN_FUNCTION_4_Pin BTN_FUNCTION_5_Pin */
  GPIO_InitStruct.Pin = BTN_FUNCTION_0_Pin|BTN_FUNCTION_1_Pin|BTN_FUNCTION_2_Pin|BTN_FUNCTION_3_Pin
                          |BTN_FUNCTION_4_Pin|BTN_FUNCTION_5_Pin;
  GPIO_InitStruct.Mode = GPIO_MODE_INPUT;
  GPIO_InitStruct.Pull = GPIO_NOPULL;
  HAL_GPIO_Init(GPIOB, &GPIO_InitStruct);

  /*Configure GPIO pin : SIG_LED_0_Pin */
  GPIO_InitStruct.Pin = SIG_LED_0_Pin;
  GPIO_InitStruct.Mode = GPIO_MODE_OUTPUT_PP;
  GPIO_InitStruct.Pull = GPIO_NOPULL;
  GPIO_InitStruct.Speed = GPIO_SPEED_FREQ_LOW;
  HAL_GPIO_Init(SIG_LED_0_GPIO_Port, &GPIO_InitStruct);

  /*Configure GPIO pin : DISP_BUSY_Pin */
  GPIO_InitStruct.Pin = DISP_BUSY_Pin;
  GPIO_InitStruct.Mode = GPIO_MODE_INPUT;
  GPIO_InitStruct.Pull = GPIO_NOPULL;
  HAL_GPIO_Init(DISP_BUSY_GPIO_Port, &GPIO_InitStruct);

  /*Configure GPIO pin : UNUSEDA15_Pin */
  GPIO_InitStruct.Pin = UNUSEDA15_Pin;
  GPIO_InitStruct.Mode = GPIO_MODE_ANALOG;
  GPIO_InitStruct.Pull = GPIO_NOPULL;
  HAL_GPIO_Init(UNUSEDA15_GPIO_Port, &GPIO_InitStruct);

  /*Configure GPIO pins : UNUSEDB7_Pin UNUSEDB8_Pin UNUSEDB9_Pin */
  GPIO_InitStruct.Pin = UNUSEDB7_Pin|UNUSEDB8_Pin|UNUSEDB9_Pin;
  GPIO_InitStruct.Mode = GPIO_MODE_ANALOG;
  GPIO_InitStruct.Pull = GPIO_NOPULL;
  HAL_GPIO_Init(GPIOB, &GPIO_InitStruct);

  /*Configure GPIO pin : BOOT0_Pin */
  GPIO_InitStruct.Pin = BOOT0_Pin;
  GPIO_InitStruct.Mode = GPIO_MODE_INPUT;
  GPIO_InitStruct.Pull = GPIO_NOPULL;
  HAL_GPIO_Init(BOOT0_GPIO_Port, &GPIO_InitStruct);

  /* USER CODE BEGIN MX_GPIO_Init_2 */

  GPIO_InitStruct.Pin = BTN_FUNCTION_0_Pin|BTN_FUNCTION_1_Pin|BTN_FUNCTION_2_Pin|BTN_FUNCTION_3_Pin
                          |BTN_FUNCTION_4_Pin|BTN_FUNCTION_5_Pin;
  GPIO_InitStruct.Mode = GPIO_MODE_IT_FALLING;
  GPIO_InitStruct.Pull = GPIO_PULLUP;
  HAL_GPIO_Init(GPIOB, &GPIO_InitStruct);

  __HAL_GPIO_EXTI_CLEAR_IT(BTN_FUNCTION_0_Pin|BTN_FUNCTION_1_Pin|BTN_FUNCTION_2_Pin|BTN_FUNCTION_3_Pin
                            |BTN_FUNCTION_4_Pin|BTN_FUNCTION_5_Pin);

  HAL_NVIC_SetPriority(EXTI0_IRQn, 6u, 0u);
  HAL_NVIC_EnableIRQ(EXTI0_IRQn);
  HAL_NVIC_SetPriority(EXTI1_IRQn, 6u, 0u);
  HAL_NVIC_EnableIRQ(EXTI1_IRQn);
  HAL_NVIC_SetPriority(EXTI2_IRQn, 6u, 0u);
  HAL_NVIC_EnableIRQ(EXTI2_IRQn);
  HAL_NVIC_SetPriority(EXTI4_IRQn, 6u, 0u);
  HAL_NVIC_EnableIRQ(EXTI4_IRQn);
  HAL_NVIC_SetPriority(EXTI9_5_IRQn, 6u, 0u);
  HAL_NVIC_EnableIRQ(EXTI9_5_IRQn);

  /* USER CODE END MX_GPIO_Init_2 */
}

void Error_Handler(void)
{
  __disable_irq();
  while (1)
  {
  }
}
